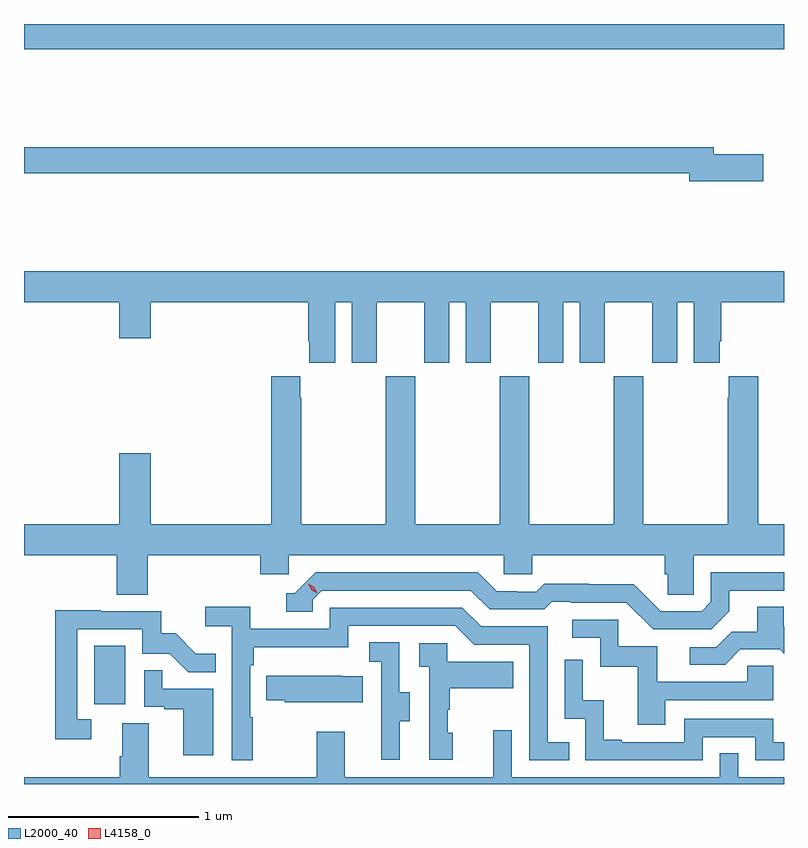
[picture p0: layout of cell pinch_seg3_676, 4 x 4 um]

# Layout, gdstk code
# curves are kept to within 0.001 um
import gdstk
lib = gdstk.Library(unit=1e-6, precision=1e-09)
def R(c, l, rs):  # rectangles x0, y0, x1, y1
    for r in rs: c.add(gdstk.rectangle(r[:2], r[2:], *l))
def P(c, l, *ps):  # polygons
    for p in ps: c.add(gdstk.Polygon(p, *l))
L2000_40 = (2000, 40)
L4158_0 = (4158, 0)

pinch_seg3_676 = lib.new_cell('pinch_seg3_676')
R(pinch_seg3_676, L2000_40, [(1141.898,673.494,1142.062,673.801), (1141.528,676.94,1145.528,677.073)])
P(pinch_seg3_676, L2000_40, [(1145.419,676.388),(1145.158,676.388),(1145.158,676.424),(1141.528,676.424),(1141.528,676.288),(1145.03,676.288),(1145.03,676.246),(1145.419,676.246)],
  [(1143.166,675.608),(1143.254,675.608),(1143.254,675.291),(1143.385,675.291),(1143.385,675.608),(1143.635,675.608),(1143.635,675.291),(1143.766,675.291),(1143.766,675.608),(1143.854,675.608),(1143.854,675.291),(1143.985,675.291),(1143.985,675.608),(1144.235,675.608),(1144.235,675.291),(1144.366,675.291),(1144.366,675.608),(1144.454,675.608),(1144.454,675.291),(1144.585,675.291),(1144.585,675.608),(1144.835,675.608),(1144.835,675.291),(1144.966,675.291),(1144.966,675.608),(1145.054,675.608),(1145.054,675.291),(1145.191,675.291),(1145.191,675.403),(1145.198,675.403),(1145.198,675.608),(1145.528,675.608),(1145.528,675.772),(1141.528,675.772),(1141.528,675.608),(1142.03,675.608),(1142.03,675.42),(1142.194,675.42),(1142.194,675.608),(1143.023,675.608),(1143.023,675.403),(1143.029,675.403),(1143.029,675.291),(1143.166,675.291)],
  [(1142.18,674.276),(1142.771,674.276),(1142.771,674.178),(1142.922,674.178),(1142.922,674.276),(1144.053,674.276),(1144.053,674.178),(1144.203,674.178),(1144.203,674.276),(1144.901,674.276),(1144.901,674.178),(1144.915,674.178),(1144.915,674.068),(1145.052,674.068),(1145.052,674.276),(1145.528,674.276),(1145.528,674.44),(1145.393,674.44),(1145.393,675.22),(1145.237,675.22),(1145.237,675.107),(1145.233,675.107),(1145.233,674.44),(1144.788,674.44),(1144.788,675.22),(1144.633,675.22),(1144.633,674.44),(1144.188,674.44),(1144.188,675.22),(1144.033,675.22),(1144.033,674.44),(1143.588,674.44),(1143.588,675.22),(1143.433,675.22),(1143.433,674.44),(1142.988,674.44),(1142.988,675.107),(1142.983,675.107),(1142.983,675.22),(1142.828,675.22),(1142.828,674.44),(1142.194,674.44),(1142.194,674.815),(1142.03,674.815),(1142.03,674.44),(1141.528,674.44),(1141.528,674.276),(1142.015,674.276),(1142.015,674.068),(1142.18,674.068)],
  [(1145.239,673.981),(1145.239,674.091),(1145.528,674.091),(1145.528,674.187),(1145.142,674.187),(1145.142,674.031),(1145.094,673.983),(1144.878,673.983),(1144.736,674.125),(1144.5,674.125),(1144.5,674.128),(1144.267,674.128),(1144.225,674.085),(1144.122,674.085),(1144.122,674.088),(1144.015,674.088),(1143.916,674.187),(1143.063,674.187),(1142.952,674.076),(1142.909,674.076),(1142.909,673.98),(1143.048,673.98),(1143.048,674.043),(1143.096,674.091),(1143.879,674.091),(1143.978,673.992),(1144.267,673.992),(1144.306,674.031),(1144.405,674.031),(1144.405,674.028),(1144.698,674.028),(1144.839,673.887),(1145.145,673.887)],
  [(1142.731,673.424),(1142.718,673.424),(1142.718,673.697),(1142.738,673.697),(1142.738,673.793),(1143.234,673.793),(1143.234,673.905),(1143.798,673.905),(1143.897,673.806),(1144.188,673.806),(1144.188,673.197),(1144.397,673.197),(1144.397,673.293),(1144.284,673.293),(1144.284,673.902),(1143.934,673.902),(1143.835,674.001),(1143.138,674.001),(1143.138,673.89),(1142.72,673.89),(1142.72,674.006),(1142.481,674.006),(1142.481,673.904),(1142.622,673.904),(1142.622,673.197),(1142.731,673.197)],
  [(1145.299,673.782),(1145.505,673.782),(1145.528,673.759),(1145.527,674.006),(1145.387,674.006),(1145.387,673.874),(1145.252,673.874),(1145.172,673.794),(1145.031,673.794),(1145.031,673.701),(1145.218,673.701)],
  [(1141.882,673.413),(1141.809,673.413),(1141.809,673.887),(1142.151,673.887),(1142.151,673.758),(1142.295,673.758),(1142.393,673.66),(1142.537,673.66),(1142.537,673.759),(1142.433,673.759),(1142.326,673.866),(1142.25,673.866),(1142.25,673.983),(1141.931,673.983),(1141.931,673.988),(1141.693,673.988),(1141.693,673.308),(1141.882,673.308)],
  [(1144.903,673.515),(1145.472,673.515),(1145.472,673.695),(1145.335,673.695),(1145.335,673.611),(1144.861,673.611),(1144.861,673.797),(1144.656,673.797),(1144.656,673.938),(1144.413,673.938),(1144.413,673.842),(1144.56,673.842),(1144.56,673.689),(1144.759,673.689),(1144.759,673.386),(1144.903,673.386)],
  [(1143.505,673.402),(1143.559,673.402),(1143.559,673.557),(1143.504,673.557),(1143.504,673.82),(1143.345,673.82),(1143.345,673.717),(1143.408,673.717),(1143.408,673.413),(1143.407,673.413),(1143.407,673.2),(1143.505,673.2)],
  [(1143.784,673.344),(1143.759,673.344),(1143.759,673.463),(1143.769,673.463),(1143.769,673.577),(1144.103,673.577),(1144.103,673.717),(1143.756,673.717),(1143.756,673.815),(1143.609,673.815),(1143.609,673.691),(1143.66,673.691),(1143.66,673.2),(1143.784,673.2)],
  [(1145.1,673.32),(1145.376,673.32),(1145.376,673.197),(1145.528,673.197),(1145.528,673.293),(1145.472,673.293),(1145.472,673.416),(1145.004,673.416),(1145.004,673.293),(1144.675,673.293),(1144.675,673.306),(1144.58,673.306),(1144.58,673.514),(1144.47,673.514),(1144.47,673.726),(1144.374,673.726),(1144.374,673.416),(1144.482,673.416),(1144.482,673.197),(1145.1,673.197)],
  [(1142.524,673.575),(1142.255,673.575),(1142.255,673.673),(1142.16,673.673),(1142.16,673.479),(1142.267,673.479),(1142.267,673.467),(1142.366,673.467),(1142.366,673.224),(1142.524,673.224)],
  [(1143.311,673.639),(1143.203,673.639),(1143.203,673.642),(1142.803,673.642),(1142.803,673.513),(1142.901,673.513),(1142.901,673.502),(1143.311,673.502)],
  [(1145.528,673.108),(1145.286,673.108),(1145.286,673.235),(1145.19,673.235),(1145.19,673.108),(1144.095,673.108),(1144.095,673.357),(1143.998,673.357),(1143.998,673.108),(1143.217,673.108),(1143.217,673.348),(1143.07,673.348),(1143.07,673.108),(1142.185,673.108),(1142.185,673.394),(1142.045,673.394),(1142.045,673.22),(1142.033,673.22),(1142.033,673.108),(1141.528,673.108),(1141.528,673.073),(1145.528,673.073)])
P(pinch_seg3_676, L4158_0, [(1143.071,674.076),(1143.04,674.095),(1143.024,674.128),(1143.024,674.128),(1143.024,674.128),(1143.055,674.109),(1143.071,674.076),(1143.071,674.076)])

lib.write_gds('pinch_seg3_676.gds')
